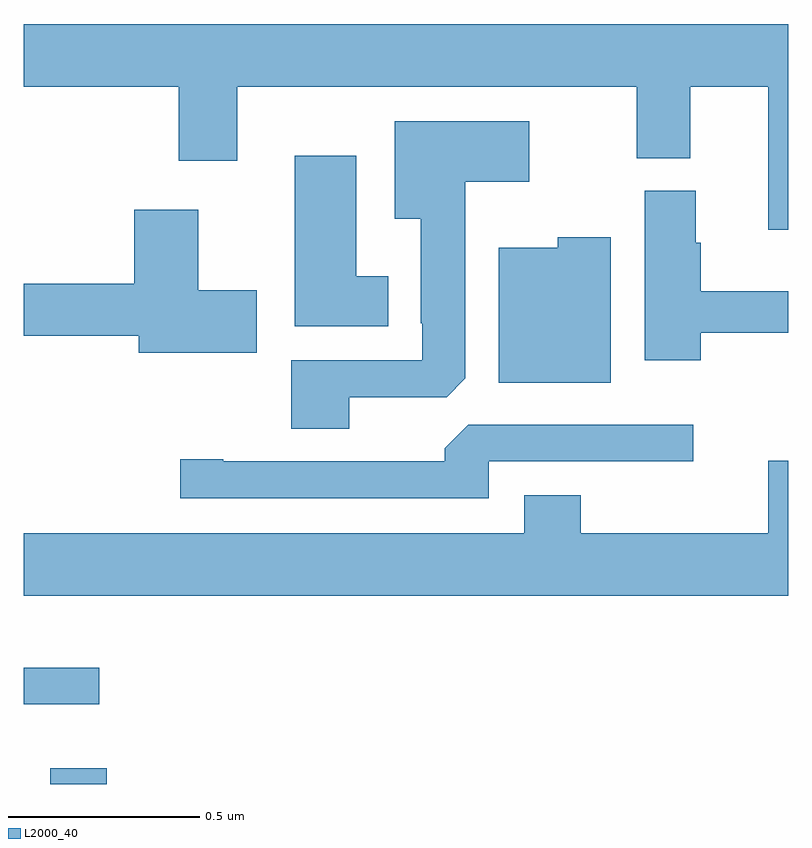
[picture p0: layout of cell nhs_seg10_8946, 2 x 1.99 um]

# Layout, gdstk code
import gdstk
lib = gdstk.Library(unit=1e-6, precision=1e-09)
def R(c, l, rs):  # rectangles x0, y0, x1, y1
    for r in rs: c.add(gdstk.rectangle(r[:2], r[2:], *l))
def P(c, l, *ps):  # polygons
    for p in ps: c.add(gdstk.Polygon(p, *l))
L2000_40 = (2000, 40)

nhs_seg10_8946 = lib.new_cell('nhs_seg10_8946')
R(nhs_seg10_8946, L2000_40, [(223.07,1290.5,223.217,1290.541), (223,1290.708,223.198,1290.804)])
P(nhs_seg10_8946, L2000_40, [(225,1292.488),(223,1292.488),(223,1292.324),(223.406,1292.324),(223.406,1292.13),(223.558,1292.13),(223.558,1292.324),(224.603,1292.324),(224.603,1292.137),(224.743,1292.137),(224.743,1292.324),(224.948,1292.324),(224.948,1291.95),(225,1291.95)],
  [(223.852,1291.512),(224.106,1291.512),(224.155,1291.561),(224.155,1292.075),(224.323,1292.075),(224.323,1292.233),(223.97,1292.233),(223.97,1291.979),(224.039,1291.979),(224.039,1291.705),(224.043,1291.705),(224.043,1291.608),(223.7,1291.608),(223.7,1291.429),(223.852,1291.429)],
  [(223.954,1291.828),(223.87,1291.828),(223.87,1292.143),(223.709,1292.143),(223.709,1291.697),(223.954,1291.697)],
  [(224.771,1291.68),(225,1291.68),(225,1291.789),(224.771,1291.789),(224.771,1291.916),(224.758,1291.916),(224.758,1292.052),(224.624,1292.052),(224.624,1291.608),(224.771,1291.608)],
  [(223.609,1291.791),(223.456,1291.791),(223.456,1292.002),(223.289,1292.002),(223.289,1291.808),(223,1291.808),(223,1291.672),(223.301,1291.672),(223.301,1291.628),(223.609,1291.628)],
  [(224.536,1291.93),(224.397,1291.93),(224.397,1291.903),(224.243,1291.903),(224.243,1291.55),(224.536,1291.55)],
  [(224.217,1291.344),(224.752,1291.344),(224.752,1291.44),(224.163,1291.44),(224.102,1291.378),(224.102,1291.344),(223.522,1291.344),(223.522,1291.349),(223.41,1291.349),(223.41,1291.248),(224.217,1291.248)],
  [(225,1291.345),(224.948,1291.345),(224.948,1291.156),(224.457,1291.156),(224.457,1291.255),(224.309,1291.255),(224.309,1291.156),(223,1291.156),(223,1290.992),(225,1290.992)])

lib.write_gds('nhs_seg10_8946.gds')
